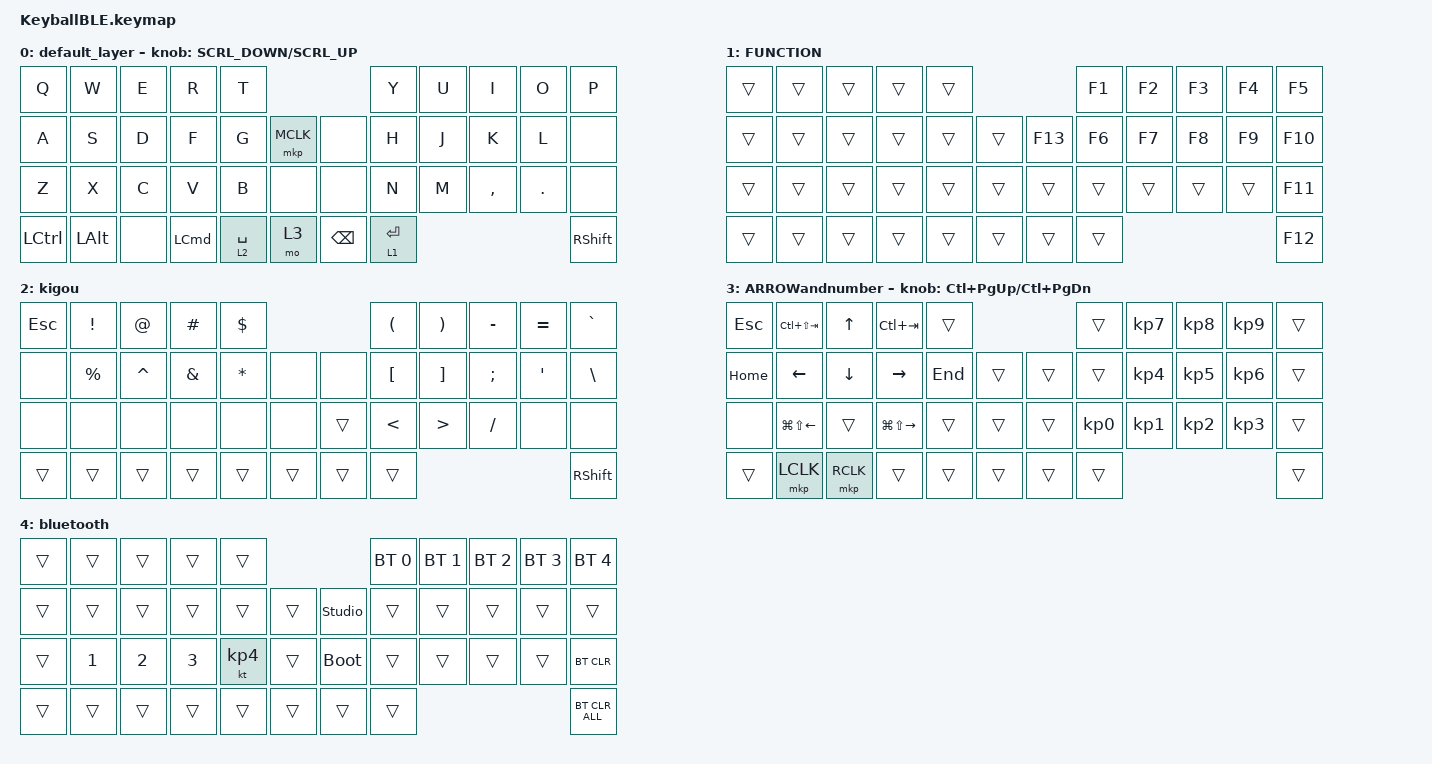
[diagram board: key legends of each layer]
#define ZMK_POINTING_DEFAULT_SCRL_VAL 120    // default: 10

#include <behaviors.dtsi>
#include <dt-bindings/zmk/bt.h>
#include <dt-bindings/zmk/keys.h>
#include <dt-bindings/zmk/pointing.h>

#define MOUSE 4
#define SCROLL 5
#define NUM 6

&mt {
    flavor = "balanced";
    quick-tap-ms = <0>;
};

/ {
    combos {
        compatible = "zmk,combos";

        bluetooth {
            bindings = <&mo 4>;
            key-positions = <34 35 36>;
        };
    };

    macros {
        to_layer_0: to_layer_0 {
            compatible = "zmk,behavior-macro-one-param";
            #binding-cells = <1>;
            bindings = <&to 0 &macro_param_1to1 &kp MACRO_PLACEHOLDER>;
            label = "TO_LAYER_0";
        };
    };

    behaviors {
        lt_to_layer_0: lt_to_layer_0 {
            compatible = "zmk,behavior-hold-tap";
            label = "LAYER_TAP_TO_0";
            bindings = <&mo>, <&to_layer_0>;

            #binding-cells = <2>;
            tapping-term-ms = <200>;
        };

        ROTATE: ROTATE {
            compatible = "zmk,behavior-sensor-rotate-var";
            label = "ROTATE";
            #sensor-binding-cells = <2>;
            bindings = <&msc>, <&msc>;

            tap-ms = <20>;
        };
    };

    keymap {
        compatible = "zmk,keymap";

        default_layer {
            bindings = <
&kp Q      &kp W         &kp E  &kp R     &kp T                                      &kp Y        &kp U  &kp I      &kp O    &kp P
&kp A      &kp S         &kp D  &kp F     &kp G        &mkp MCLK      &none          &kp H        &kp J  &kp K      &kp L    &none
&kp Z      &kp X         &kp C  &kp V     &kp B        &none          &none          &kp N        &kp M  &kp COMMA  &kp DOT  &none
&kp LCTRL  &kp LEFT_ALT  &none  &kp LCMD  &lt 2 SPACE  &mo 3          &kp BACKSPACE  &lt 1 ENTER                             &kp RIGHT_SHIFT
            >;

            sensor-bindings = <&ROTATE SCRL_DOWN SCRL_UP>;
        };

        FUNCTION {
            bindings = <
&trans  &trans  &trans  &trans  &trans                       &kp F1  &kp F2  &kp F3  &kp F4  &kp F5
&trans  &trans  &trans  &trans  &trans  &trans      &kp F13  &kp F6  &kp F7  &kp F8  &kp F9  &kp F10
&trans  &trans  &trans  &trans  &trans  &trans      &trans   &trans  &trans  &trans  &trans  &kp F11
&trans  &trans  &trans  &trans  &trans  &trans      &trans   &trans                          &kp F12
            >;
        };

        kigou {
            bindings = <
&kp ESCAPE  &kp EXCLAMATION  &kp AT_SIGN  &kp HASH       &kp DOLLAR                        &kp LEFT_PARENTHESIS  &kp RIGHT_PARENTHESIS  &kp MINUS      &kp EQUAL         &kp GRAVE
&none       &kp PERCENT      &kp CARET    &kp AMPERSAND  &kp ASTERISK  &none       &none   &kp LEFT_BRACKET      &kp RIGHT_BRACKET      &kp SEMICOLON  &kp SINGLE_QUOTE  &kp BACKSLASH
&none       &none            &none        &none          &none         &none       &trans  &kp LESS_THAN         &kp GREATER_THAN       &kp SLASH      &none             &none
&trans      &trans           &trans       &trans         &trans        &trans      &trans  &trans                                                                        &kp RIGHT_SHIFT
            >;
        };

        ARROWandnumber {
            bindings = <
&kp ESCAPE  &kp LC(LS(TAB))         &kp UP_ARROW    &kp LC(TAB)              &trans                       &trans           &kp KP_NUMBER_7  &kp KP_NUMBER_8  &kp KP_NUMBER_9  &trans
&kp HOME    &kp LEFT_ARROW          &kp DOWN_ARROW  &kp RIGHT_ARROW          &kp END  &trans      &trans  &trans           &kp KP_NUMBER_4  &kp KP_NUMBER_5  &kp KP_NUMBER_6  &trans
&none       &kp LG(LS(LEFT_ARROW))  &trans          &kp LG(LS(RIGHT_ARROW))  &trans   &trans      &trans  &kp KP_NUMBER_0  &kp KP_NUMBER_1  &kp KP_NUMBER_2  &kp KP_NUMBER_3  &trans
&trans      &mkp LCLK               &mkp RCLK       &trans                   &trans   &trans      &trans  &trans                                                              &trans
            >;

            sensor-bindings = <&inc_dec_kp LC(PAGE_UP) LC(PAGE_DOWN)>;
        };

        bluetooth {
            bindings = <
&trans  &trans        &trans        &trans        &trans                                 &bt BT_SEL 0  &bt BT_SEL 1  &bt BT_SEL 2  &bt BT_SEL 3  &bt BT_SEL 4
&trans  &trans        &trans        &trans        &trans     &trans      &studio_unlock  &trans        &trans        &trans        &trans        &trans
&trans  &kp NUMBER_1  &kp NUMBER_2  &kp NUMBER_3  &kt KP_N4  &trans      &bootloader     &trans        &trans        &trans        &trans        &bt BT_CLR
&trans  &trans        &trans        &trans        &trans     &trans      &trans          &trans                                                  &bt BT_CLR_ALL
            >;
        };
    };
};
